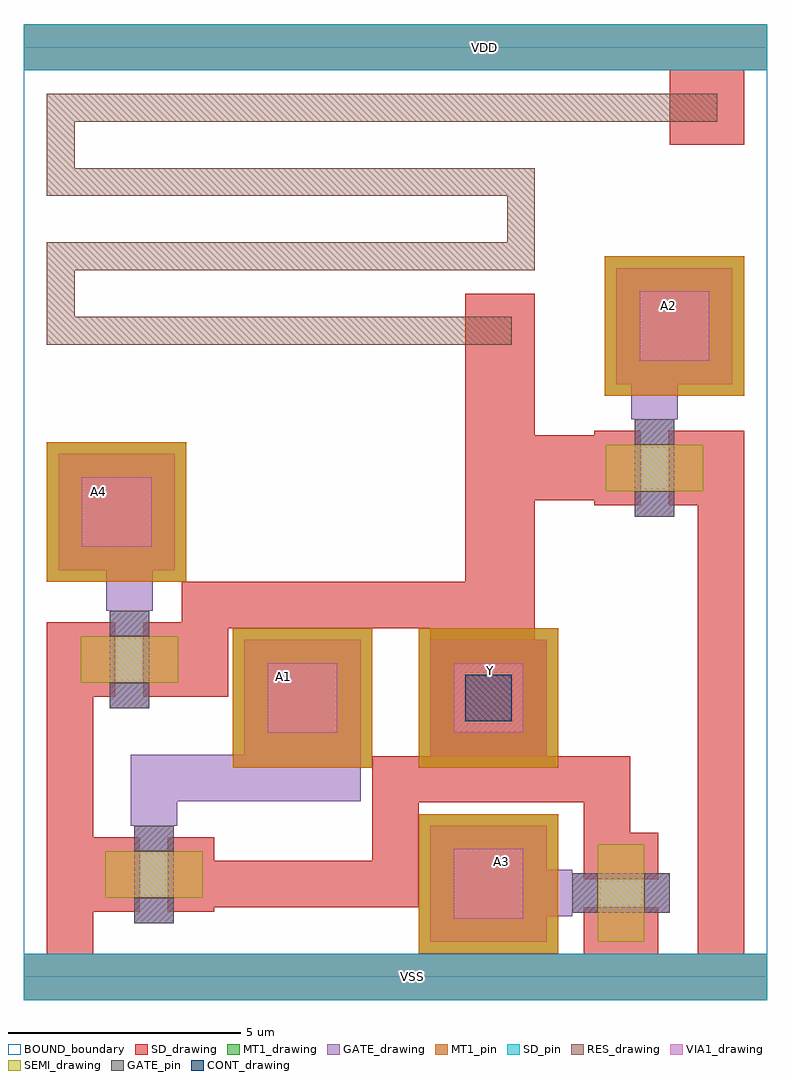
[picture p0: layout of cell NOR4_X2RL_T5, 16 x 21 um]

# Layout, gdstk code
from math import pi, radians
import gdstk
lib = gdstk.Library(unit=1e-6, precision=1e-09)
def R(c, l, rs):  # rectangles x0, y0, x1, y1
    for r in rs: c.add(gdstk.rectangle(r[:2], r[2:], *l))
def P(c, l, *ps):  # polygons
    for p in ps: c.add(gdstk.Polygon(p, *l))
RES_drawing = (1, 0)
SEMI_drawing = (3, 0)
SD_drawing = (10, 0)
SD_pin = (10, 3)
GATE_drawing = (11, 0)
GATE_pin = (11, 3)
MT1_drawing = (20, 0)
MT1_pin = (20, 3)
CONT_drawing = (30, 0)
VIA1_drawing = (41, 0)
BOUND_boundary = (150, 5)

nch_cdns_772545083200 = lib.new_cell('nch_CDNS_772545083200')
R(nch_cdns_772545083200, SEMI_drawing, [(-1.05,-0.5,1.05,0.5)])
R(nch_cdns_772545083200, SD_drawing, [(-1.3,-0.8,-0.3,0.8), (0.3,-0.8,1.3,0.8)])
R(nch_cdns_772545083200, GATE_drawing, [(-0.425,-1.05,0.425,1.05)])
R(nch_cdns_772545083200, GATE_pin, [(-0.425,-1.05,0.425,-0.5), (-0.425,0.5,0.425,1.05)])

gate_mt1_cdns_7725450832 = lib.new_cell('GATE_MT1_CDNS_772545083200')
R(gate_mt1_cdns_7725450832, GATE_drawing, [(-1.25,-1.25,1.25,1.25)])
R(gate_mt1_cdns_7725450832, MT1_drawing, [(-1.25,-1.25,1.25,1.25)])
R(gate_mt1_cdns_7725450832, VIA1_drawing, [(-0.75,-0.75,0.75,0.75)])

sd_gate_cdns_77254508320 = lib.new_cell('SD_GATE_CDNS_772545083201')
R(sd_gate_cdns_77254508320, SD_drawing, [(-1.25,-1.25,1.25,1.25)])
R(sd_gate_cdns_77254508320, GATE_drawing, [(-1.25,-1.25,1.25,1.25)])
R(sd_gate_cdns_77254508320, CONT_drawing, [(-0.5,-0.5,0.5,0.5)])

nor4_x2rl_t5 = lib.new_cell('NOR4_X2RL_T5')
R(nor4_x2rl_t5, SD_drawing, [(0,-0.5,16,0.5), (0.5,0.5,1.5,7.625), (14.5,0.5,15.5,11.75), (7.5,1.5,8.5,4.75), (12.05,3.1,13.05,4.75), (7.5,3.75,11.25,4.75), (11.25,3.75,13.05,4.75), (3.4,6.025,4.4,8.5), (8.75,7.25,11,8.5), (3.4,7.5,11,8.5), (9.5,13.1,11,14.7), (13.9,17.9,15.5,19.5), (0,19.5,16,20.5)])
R(nor4_x2rl_t5, SD_pin, [(0,-0.5,16,0.5), (0,19.5,16,20.5)])
P(nor4_x2rl_t5, GATE_drawing, [(11.7,2.3),(11.7,1.3),(11.8,1.3),(11.8,1.425),(11.85,1.425),(11.85,2.175),(11.8,2.175),(11.8,2.3)],
  [(3.3,3.35),(2.3,3.35),(2.3,3.25),(2.425,3.25),(2.425,3.2),(3.175,3.2),(3.175,3.25),(3.3,3.25)],
  [(2.775,7.975),(1.775,7.975),(1.775,7.875),(1.9,7.875),(1.9,7.825),(2.65,7.825),(2.65,7.875),(2.775,7.875)],
  [(14.075,12.1),(13.075,12.1),(13.075,12),(13.2,12),(13.2,11.95),(13.95,11.95),(13.95,12),(14.075,12)])
R(nor4_x2rl_t5, MT1_drawing, [(8.5,0.5,11.5,3.5), (4.5,4.5,7.5,7.5), (8.5,4.5,11.5,7.5), (0.5,8.5,3.5,11.5), (12.5,12.5,15.5,15.5)])
R(nor4_x2rl_t5, MT1_pin, [(8.5,0.5,11.5,3.5), (4.5,4.5,7.5,7.5), (8.5,4.5,11.5,7.5), (0.5,8.5,3.5,11.5), (0.5,8.5,3.5,11.5), (12.5,12.5,15.5,15.5)])
R(nor4_x2rl_t5, BOUND_boundary, [(0,0,16,20)])
nor4_x2rl_t5.add(gdstk.FlexPath([(2.275,7.975),(2.275,8.775)], 1, ends="flush", simple_path=True, layer=11, datatype=0))  # GATE_drawing
nor4_x2rl_t5.add(gdstk.FlexPath([(2.8,3.35),(2.8,4.275)], 1, ends=(0, 0.5), simple_path=True, layer=11, datatype=0))  # GATE_drawing
nor4_x2rl_t5.add(gdstk.FlexPath([(11.8,1.8),(10.8,1.8)], 1, ends="flush", simple_path=True, layer=11, datatype=0))  # GATE_drawing
nor4_x2rl_t5.add(gdstk.FlexPath([(13.575,12.1),(13.575,12.825)], 1, ends="flush", simple_path=True, layer=11, datatype=0))  # GATE_drawing
nor4_x2rl_t5.add(gdstk.FlexPath([(2.8,4.275),(7.25,4.275)], 1, ends=(0.5, 0), simple_path=True, layer=11, datatype=0))  # GATE_drawing
nor4_x2rl_t5.add(gdstk.FlexPath([(10.25,13.1),(10.25,10.95)], 1.5, ends=(0, 0.7), simple_path=True, layer=10, datatype=0))  # SD_drawing
nor4_x2rl_t5.add(gdstk.FlexPath([(12.275,10.95),(10.25,10.95)], 1.4, ends=(0, 0.75), simple_path=True, layer=10, datatype=0))  # SD_drawing
nor4_x2rl_t5.add(gdstk.FlexPath([(10.25,10.95),(10.25,7.25)], 1.5, ends=(0.7, 0), simple_path=True, layer=10, datatype=0))  # SD_drawing
nor4_x2rl_t5.add(gdstk.FlexPath([(4.1,2),(7.5,2)], 1, ends="flush", simple_path=True, layer=10, datatype=0))  # SD_drawing
nor4_x2rl_t5.add(gdstk.FlexPath([(13.925,18.7),(0.8,18.7),(0.8,17.1),(10.7,17.1),(10.7,15.5),(0.8,15.5),(0.8,13.9),(9.5,13.9)], 0.6, ends=(1, 1), simple_path=True, layer=1, datatype=0))  # RES_drawing
nor4_x2rl_t5.add(gdstk.Reference(nch_cdns_772545083200, (12.85,1.8), rotation=3*pi/2))
nor4_x2rl_t5.add(gdstk.Reference(nch_cdns_772545083200, (2.8,2.2)))
nor4_x2rl_t5.add(gdstk.Reference(nch_cdns_772545083200, (2.275,6.825)))
nor4_x2rl_t5.add(gdstk.Reference(nch_cdns_772545083200, (13.575,10.95), rotation=pi))
nor4_x2rl_t5.add(gdstk.Reference(gate_mt1_cdns_7725450832, (14,14)))
nor4_x2rl_t5.add(gdstk.Reference(gate_mt1_cdns_7725450832, (2,10)))
nor4_x2rl_t5.add(gdstk.Reference(gate_mt1_cdns_7725450832, (10,2)))
nor4_x2rl_t5.add(gdstk.Reference(gate_mt1_cdns_7725450832, (10,6)))
nor4_x2rl_t5.add(gdstk.Reference(gate_mt1_cdns_7725450832, (6,6)))
nor4_x2rl_t5.add(gdstk.Reference(sd_gate_cdns_77254508320, (10,6)))
nor4_x2rl_t5.add(gdstk.Label('A4', (1.6,10.45), layer=20, texttype=3))
nor4_x2rl_t5.add(gdstk.Label('A3', (10.275,2.475), layer=20, texttype=3))
nor4_x2rl_t5.add(gdstk.Label('Y', (10.05,6.6), layer=20, texttype=3))
nor4_x2rl_t5.add(gdstk.Label('A2', (13.875,14.45), layer=20, texttype=3))
nor4_x2rl_t5.add(gdstk.Label('A1', (5.6,6.45), layer=20, texttype=3))
nor4_x2rl_t5.add(gdstk.Label('VSS', (8.375,0), layer=10, texttype=3))
nor4_x2rl_t5.add(gdstk.Label('VDD', (9.925,20), layer=10, texttype=3))

lib.write_gds('NOR4_X2RL_T5.gds')
